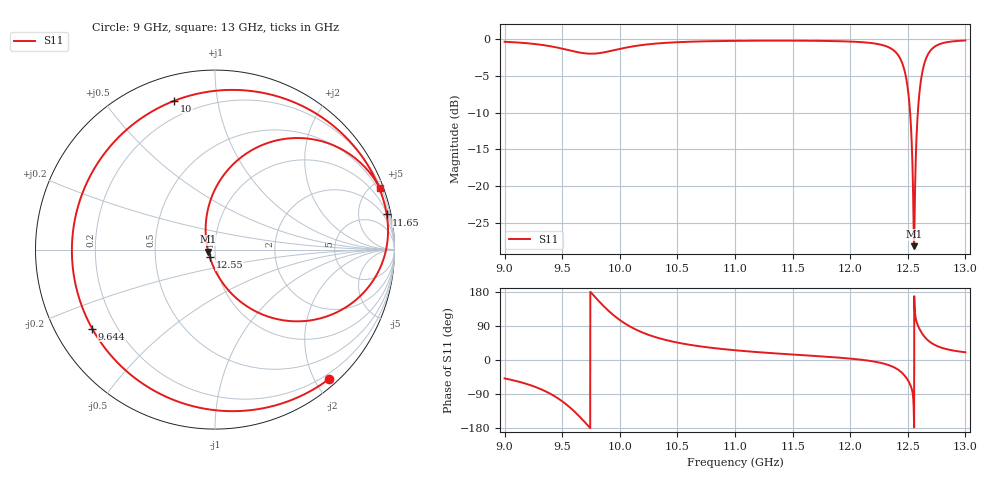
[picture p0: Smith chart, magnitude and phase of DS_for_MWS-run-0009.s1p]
! TOUCHSTONE file generated by CST DESIGN STUDIO
! Date and time: Tue Feb  4 13:42:10 2025
! Project name: C:\Work\MatlabApps\UnitCellOptimizationMatlab\CST\unitcell.cst
! Tree item: Tasks\Sweep1\SPara1\S-Parameters
! Header version: 2024
! Port assignment regex: !\s*Touchstone port\s*([0-9]+)\s*=\s*(CST MWS port|CST DES external port|CST DES block port)\s*(.+)\s* \(\"(.*)\"\)(\s*mode\s*([0-9]+))?.*
! Touchstone port assignment:
! Touchstone port 1 = CST DES external port 1 ("")
# GHz S MA R 50
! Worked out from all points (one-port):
!   4001 points, 9 GHz to 13 GHz, reference 50 ohm
!   lowest |S11| = -28.2 dB at 12.55 GHz (marker M1), VSWR 1.08, Z = 46.4 - j1.07 ohm
!   |S11| at or under -10 dB: 12.52 GHz to 12.59 GHz (66.85 MHz wide, 0.533 % of centre)
!   S11 on the Smith chart (normalised r, x): 9 GHz: 0.12, -2.21; 9.644 GHz: 0.11, -0.29; 10 GHz: 0.12, +0.76; 11.65 GHz: 1.15, +9.72; 12.55 GHz: 0.94, -0.08; 13 GHz: 0.31, +5.55
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9  0.961 -48.6
9.266  0.9273 -71.0
9.5  0.8631 -108.9
9.644  0.8137 -147.3
9.722  0.7987 -172.6
9.797  0.8003 162.2
9.9  0.8253 130.4
10  0.8595 105.5
10.001  0.8598 105.2
10.23  0.9206 68.6
10.5  0.9545 46.0
11  0.975 25.7
11.5  0.9779 14.4
11.647  0.9765 11.6
12  0.9644 3.7
12.352  0.867 -15.5
12.433  0.742 -29.3
12.5  0.4616 -52.8
12.52  0.317 -64.4
12.54  0.1437 -83.9
12.551  0.05043 -125.2
12.554  0.0391 -162.9
12.567  0.1323 113.2
12.584  0.2902 93.9
12.6  0.4242 82.8
12.654  0.7239 58.3
12.776  0.9261 34.2
13  0.9811 20.4
